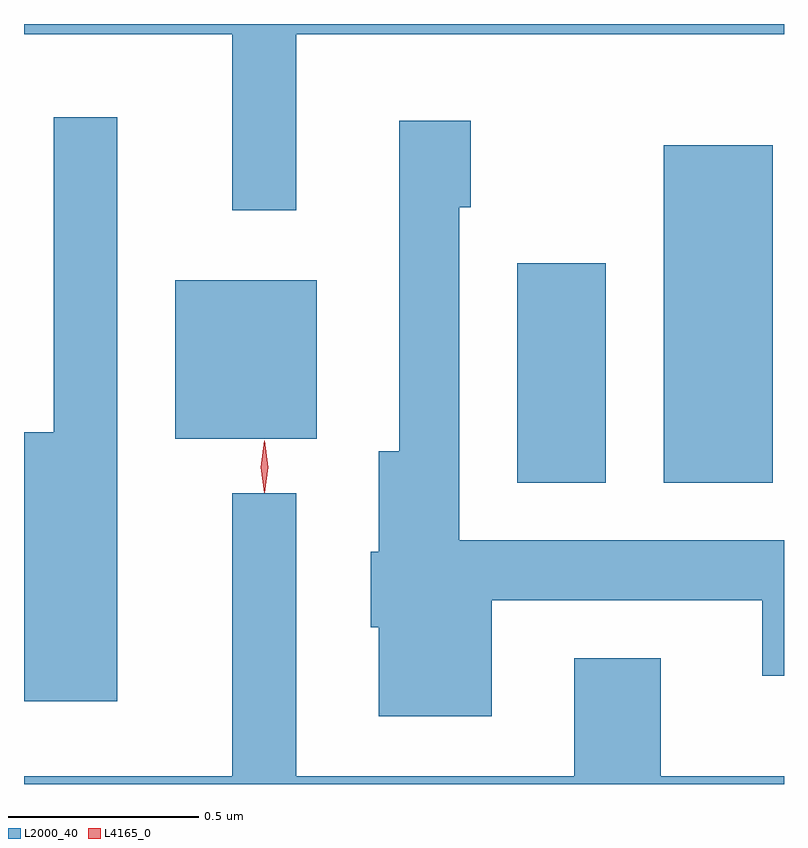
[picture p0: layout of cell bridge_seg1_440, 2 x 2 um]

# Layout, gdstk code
import gdstk
lib = gdstk.Library(unit=1e-6, precision=1e-09)
def R(c, l, rs):  # rectangles x0, y0, x1, y1
    for r in rs: c.add(gdstk.rectangle(r[:2], r[2:], *l))
def P(c, l, *ps):  # polygons
    for p in ps: c.add(gdstk.Polygon(p, *l))
L2000_40 = (2000, 40)
L4165_0 = (4165, 0)

bridge_seg1_440 = lib.new_cell('bridge_seg1_440')
R(bridge_seg1_440, L2000_40, [(329.611,942.796,329.844,943.374), (329.996,942.796,330.284,943.684), (328.711,942.911,329.084,943.329)])
P(bridge_seg1_440, L2000_40, [(329.029,943.976),(330.313,943.976),(330.313,944.003),(328.313,944.003),(328.313,943.976),(328.861,943.976),(328.861,943.513),(329.029,943.513)],
  [(328.559,943.758),(328.391,943.758),(328.391,942.929),(328.313,942.929),(328.313,942.221),(328.559,942.221)],
  [(329.544,942.486),(330.256,942.486),(330.256,942.288),(330.313,942.288),(330.313,942.644),(329.459,942.644),(329.459,943.521),(329.489,943.521),(329.489,943.749),(329.301,943.749),(329.301,942.879),(329.246,942.879),(329.246,942.614),(329.226,942.614),(329.226,942.416),(329.246,942.416),(329.246,942.181),(329.544,942.181)],
  [(330.313,942.024),(329.989,942.024),(329.989,942.334),(329.761,942.334),(329.761,942.024),(329.029,942.024),(329.029,942.768),(328.861,942.768),(328.861,942.024),(328.313,942.024),(328.313,942.003),(330.313,942.003)])
P(bridge_seg1_440, L4165_0, [(328.945,942.773),(328.945,942.773),(328.936,942.837),(328.945,942.901),(328.946,942.902),(328.946,942.901),(328.956,942.837),(328.946,942.773)],
  [(328.946,942.769),(328.945,942.77),(328.936,942.837),(328.945,942.906),(328.946,942.906),(328.946,942.906),(328.956,942.837),(328.946,942.77)])

lib.write_gds('bridge_seg1_440.gds')
